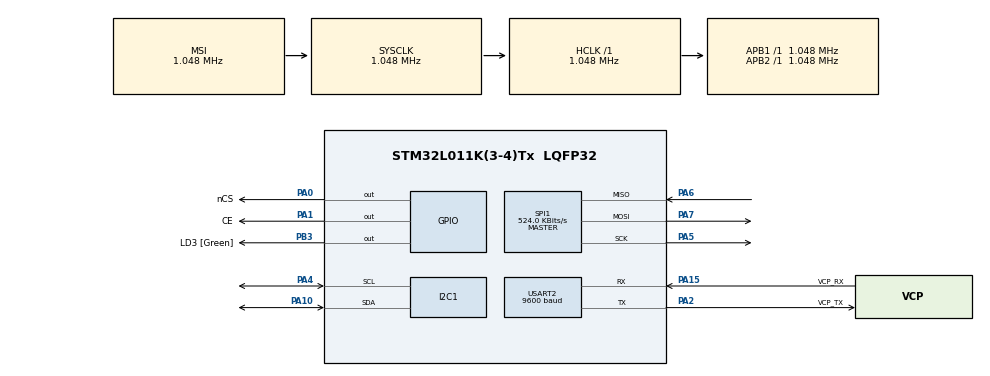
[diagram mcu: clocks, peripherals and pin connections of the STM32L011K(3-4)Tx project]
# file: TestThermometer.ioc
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I2C1.Timing=0x00000202
Mcu.Family=STM32L0
Mcu.Name=STM32L011K(3-4)Tx
Mcu.Package=LQFP32
NVIC.RTC_IRQn=true\:0\:0\:false\:false\:true\:true\:true
PA0-CK_IN.GPIO_Label=nCS
PA0-CK_IN.Signal=GPIO_Output
PA1.GPIO_Label=CE
PA1.Signal=GPIO_Output
PA10.Mode=I2C
PA10.Signal=I2C1_SDA
PA13.GPIO_Label=TMS
PA13.Mode=Serial_Wire
PA13.Signal=SYS_SWDIO
PA14.GPIO_Label=TCK
PA14.Mode=Serial_Wire
PA14.Signal=SYS_SWCLK
PA15.GPIO_Label=VCP_RX
PA15.Mode=Asynchronous
PA15.Signal=USART2_RX
PA2.GPIO_Label=VCP_TX
PA2.Mode=Asynchronous
PA2.Signal=USART2_TX
PA4.Mode=I2C
PA4.Signal=I2C1_SCL
PA5.Mode=Full_Duplex_Master
PA5.Signal=SPI1_SCK
PA6.Mode=Full_Duplex_Master
PA6.Signal=SPI1_MISO
PA7.Mode=Full_Duplex_Master
PA7.Signal=SPI1_MOSI
PB3.GPIO_Label=LD3 [Green]
PB3.Signal=GPIO_Output
PC14-OSC32_IN.Signal=RCC_OSC32_IN
PC15-OSC32_OUT.Signal=RCC_OSC32_OUT
ProjectManager.HeapSize=0x200
ProjectManager.StackSize=0x400
ProjectManager.TargetToolchain=MDK-ARM V5.27
RCC.AHBFreq_Value=1048000
RCC.APB1Freq_Value=1048000
RCC.APB1TimFreq_Value=1048000
RCC.APB2Freq_Value=1048000
RCC.APB2TimFreq_Value=1048000
RCC.HCLKFreq_Value=1048000
RCC.HSE_VALUE=8000000
RCC.HSI16_VALUE=16000000
RCC.HSI48_VALUE=48000000
RCC.HSI_VALUE=16000000
RCC.LSE_VALUE=32768
RCC.MSIClockRange=RCC_MSIRANGE_4
RCC.MSI_VALUE=1048000
RCC.PLLMUL=RCC_PLLMUL_4
RCC.SYSCLKFreq_VALUE=1048000
RCC.VCOOutputFreq_Value=64000000
RTC.WakeUpClock-WakeUp=RTC_WAKEUPCLOCK_CK_SPRE_16BITS
RTC.WakeUpCounter-WakeUp=1
SPI1.CalculateBaudRate=524.0 KBits/s
SPI1.Direction=SPI_DIRECTION_2LINES
SPI1.Mode=SPI_MODE_MASTER
SPI1.VirtualType=VM_MASTER
SYS.Mode=PWR_PVD_MODE_NORMAL
SYS.PVDLevel=PWR_PVDLEVEL_2
USART2.BaudRate=9600
USART2.OverSampling=UART_OVERSAMPLING_16
USART2.VirtualMode-Asynchronous=VM_ASYNC
VP_RTC_VS_RTC_Activate.Mode=RTC_Enabled
VP_RTC_VS_RTC_WakeUp_intern.Mode=WakeUp
VP_SYS_V_PVD_IN.Mode=Mode_PVD_Int
board=NUCLEO-L011K4

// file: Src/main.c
/* USER CODE BEGIN Header */
/**
  ******************************************************************************
  * @file           : main.c
  * @brief          : Main program body
  ******************************************************************************
  * @attention
  *
  * <h2><center>&copy; Copyright (c) 2019 STMicroelectronics.
  * All rights reserved.</center></h2>
  *
  * This software component is licensed by ST under BSD 3-Clause license,
  * the "License"; You may not use this file except in compliance with the
  * License. You may obtain a copy of the License at:
  *                        opensource.org/licenses/BSD-3-Clause
  *
  ******************************************************************************
  */
/* USER CODE END Header */

#include "main.h"

I2C_HandleTypeDef hi2c1;

RTC_HandleTypeDef hrtc;

SPI_HandleTypeDef hspi1;

UART_HandleTypeDef huart2;

void SystemClock_Config(void);
static void MX_GPIO_Init(void);
static void MX_I2C1_Init(void);
static void MX_RTC_Init(void);
static void MX_SPI1_Init(void);
static void MX_USART2_UART_Init(void);

/* USER CODE BEGIN 0 */
/**
  * @brief  Retargets the C library printf function to the USART.
  * @param  None
  * @retval None
  */
PUTCHAR_PROTOTYPE
{
  /* Place your implementation of fputc here */
  /* e.g. write a character to the USART2 and Loop until the end of transmission */
  HAL_UART_Transmit(&huart2, (uint8_t *)&ch, 1, 0xFFFF);

  return ch;
}
/* USER CODE END 0 */

int main(void)
{
  /* USER CODE BEGIN 1 */
	uint8_t temp;
	uint8_t q = 0;
	uint8_t data_array[4];
	uint8_t tx_address[5] = {0xE7,0xE7,0xE7,0xE7,0xE7};
	uint8_t rx_address[5] = {0xD7,0xD7,0xD7,0xD7,0xD7};

  /* USER CODE END 1 */

  /* MCU Configuration--------------------------------------------------------*/

  /* Reset of all peripherals, Initializes the Flash interface and the Systick. */
  HAL_Init();

  /* Configure the system clock */
  SystemClock_Config();

  /* Initialize all configured peripherals */
  MX_GPIO_Init();
  MX_I2C1_Init();
  MX_RTC_Init();
  MX_SPI1_Init();
  MX_USART2_UART_Init();
  /* USER CODE BEGIN 2 */

	HAL_PWREx_EnableUltraLowPower(); // Ultra low power mode (turns off Vrefint during sleep)
	HAL_PWREx_EnableFastWakeUp(); // Fast wake-up for ultra low power mode (does not wait for Vrefint startup)

	/* init hardware pins */
	nrf24_init();

	/* Channel #2 , payload length: 4 */
	nrf24_config(2,4);

	/* Set the device addresses */
	nrf24_tx_address(tx_address);
	nrf24_rx_address(rx_address);

	//Aditional Wakeup configuration - use event instead of interrupt to wakeup (no ISR needed).
	__HAL_RTC_WAKEUPTIMER_EXTI_DISABLE_IT();
	__HAL_RTC_WAKEUPTIMER_EXTI_ENABLE_EVENT();

  /* USER CODE END 2 */

  /* Infinite loop */
  /* USER CODE BEGIN WHILE */
  printf("Start:");
	L3On();
	HAL_Delay(1000);
	uint8_t i2cmsg[10];
	volatile int i16Temp;
#define LM75ADDRESS 0x90

	while (1)
  {
    i2cmsg[0]=0;
		HAL_I2C_Master_Transmit(&hi2c1, LM75ADDRESS, i2cmsg, 1, 10);
		HAL_I2C_Master_Receive(&hi2c1, LM75ADDRESS, i2cmsg, 2, 10);
    i16Temp=((int)i2cmsg[0]<<8) | i2cmsg[1];

		data_array[0] = 'T';
		data_array[1] = i2cmsg[0];
		data_array[2] = i2cmsg[1];
		data_array[3] = q++;
		printf("T=%d(T=%f)   ",i2cmsg[0],i16Temp/256.0);
		/* Automatically goes to TX mode */
		nrf24_send(data_array);

		/* Wait for transmission to end */
		while(nrf24_isSending());

		/* Make analysis on last tranmission attempt */
		temp = nrf24_lastMessageStatus();

		if(temp == NRF24_TRANSMISSON_OK)
		{
				printf("T-OK");
		}
		else if(temp == NRF24_MESSAGE_LOST)
		{
				printf("T-Err");
		}
		else
		{
				printf("T-???(%d)",temp);
		}

		/* Retranmission count indicates the tranmission quality */
		temp = nrf24_retransmissionCount();
		printf("Rtr=%d",temp);
		/* Optionally, go back to RX mode ... */
		nrf24_powerUpRx();

		//Go to sleep
		L3Off();
		//TODO: change GPIO configuration for minimal power consumption
//		HAL_PWR_EnterSTOPMode(PWR_LOWPOWERREGULATOR_ON,PWR_STOPENTRY_WFE);
		//Sleeping...
		//Sleeping...
		//Sleeping...
//	   __HAL_RTC_WAKEUPTIMER_CLEAR_FLAG(&hrtc, RTC_FLAG_WUTF);
		HAL_PWR_EnablePVD();	//Check Bit PVDO in PWR_CSR register to see result: 1 = battery low
		//PVD is not reliable for about 3ms after waking up (time for Vrefint to stabalize
		SystemClock_Config();
		MX_GPIO_Init();
		L3On();
//		MX_I2C1_Init();
//		MX_SPI1_Init();
//		MX_USART2_UART_Init();
		HAL_Delay(1000);
    /* USER CODE END WHILE */

  }
}

void SystemClock_Config(void)
{
  RCC_OscInitTypeDef RCC_OscInitStruct = {0};
  RCC_ClkInitTypeDef RCC_ClkInitStruct = {0};
  RCC_PeriphCLKInitTypeDef PeriphClkInit = {0};

  /** Configure the main internal regulator output voltage
  */
  __HAL_PWR_VOLTAGESCALING_CONFIG(PWR_REGULATOR_VOLTAGE_SCALE1);
  /** Initializes the CPU, AHB and APB busses clocks
  */
  RCC_OscInitStruct.OscillatorType = RCC_OSCILLATORTYPE_LSI|RCC_OSCILLATORTYPE_MSI;
  RCC_OscInitStruct.LSIState = RCC_LSI_ON;
  RCC_OscInitStruct.MSIState = RCC_MSI_ON;
  RCC_OscInitStruct.MSICalibrationValue = 0;
  RCC_OscInitStruct.MSIClockRange = RCC_MSIRANGE_4;
  RCC_OscInitStruct.PLL.PLLState = RCC_PLL_NONE;
  if (HAL_RCC_OscConfig(&RCC_OscInitStruct) != HAL_OK)
  {
    Error_Handler();
  }
  /** Initializes the CPU, AHB and APB busses clocks
  */
  RCC_ClkInitStruct.ClockType = RCC_CLOCKTYPE_HCLK|RCC_CLOCKTYPE_SYSCLK
                              |RCC_CLOCKTYPE_PCLK1|RCC_CLOCKTYPE_PCLK2;
  RCC_ClkInitStruct.SYSCLKSource = RCC_SYSCLKSOURCE_MSI;
  RCC_ClkInitStruct.AHBCLKDivider = RCC_SYSCLK_DIV1;
  RCC_ClkInitStruct.APB1CLKDivider = RCC_HCLK_DIV1;
  RCC_ClkInitStruct.APB2CLKDivider = RCC_HCLK_DIV1;

  if (HAL_RCC_ClockConfig(&RCC_ClkInitStruct, FLASH_LATENCY_0) != HAL_OK)
  {
    Error_Handler();
  }
  PeriphClkInit.PeriphClockSelection = RCC_PERIPHCLK_USART2|RCC_PERIPHCLK_I2C1
                              |RCC_PERIPHCLK_RTC;
  PeriphClkInit.Usart2ClockSelection = RCC_USART2CLKSOURCE_PCLK1;
  PeriphClkInit.I2c1ClockSelection = RCC_I2C1CLKSOURCE_PCLK1;
  PeriphClkInit.RTCClockSelection = RCC_RTCCLKSOURCE_LSI;
  if (HAL_RCCEx_PeriphCLKConfig(&PeriphClkInit) != HAL_OK)
  {
    Error_Handler();
  }
}

static void MX_I2C1_Init(void)
{

  hi2c1.Instance = I2C1;
  hi2c1.Init.Timing = 0x00000202;
  hi2c1.Init.OwnAddress1 = 0;
  hi2c1.Init.AddressingMode = I2C_ADDRESSINGMODE_7BIT;
  hi2c1.Init.DualAddressMode = I2C_DUALADDRESS_DISABLE;
  hi2c1.Init.OwnAddress2 = 0;
  hi2c1.Init.OwnAddress2Masks = I2C_OA2_NOMASK;
  hi2c1.Init.GeneralCallMode = I2C_GENERALCALL_DISABLE;
  hi2c1.Init.NoStretchMode = I2C_NOSTRETCH_DISABLE;
  if (HAL_I2C_Init(&hi2c1) != HAL_OK)
  {
    Error_Handler();
  }
  /** Configure Analogue filter
  */
  if (HAL_I2CEx_ConfigAnalogFilter(&hi2c1, I2C_ANALOGFILTER_ENABLE) != HAL_OK)
  {
    Error_Handler();
  }
  /** Configure Digital filter
  */
  if (HAL_I2CEx_ConfigDigitalFilter(&hi2c1, 0) != HAL_OK)
  {
    Error_Handler();
  }

}

static void MX_RTC_Init(void)
{

  /** Initialize RTC Only
  */
  hrtc.Instance = RTC;
  hrtc.Init.HourFormat = RTC_HOURFORMAT_24;
  hrtc.Init.AsynchPrediv = 127;
  hrtc.Init.SynchPrediv = 255;
  hrtc.Init.OutPut = RTC_OUTPUT_DISABLE;
  hrtc.Init.OutPutRemap = RTC_OUTPUT_REMAP_NONE;
  hrtc.Init.OutPutPolarity = RTC_OUTPUT_POLARITY_HIGH;
  hrtc.Init.OutPutType = RTC_OUTPUT_TYPE_OPENDRAIN;
  if (HAL_RTC_Init(&hrtc) != HAL_OK)
  {
    Error_Handler();
  }
  /** Enable the WakeUp
  */
  if (HAL_RTCEx_SetWakeUpTimer_IT(&hrtc, 1, RTC_WAKEUPCLOCK_CK_SPRE_16BITS) != HAL_OK)
  {
    Error_Handler();
  }

}

static void MX_SPI1_Init(void)
{

  /* SPI1 parameter configuration*/
  hspi1.Instance = SPI1;
  hspi1.Init.Mode = SPI_MODE_MASTER;
  hspi1.Init.Direction = SPI_DIRECTION_2LINES;
  hspi1.Init.DataSize = SPI_DATASIZE_8BIT;
  hspi1.Init.CLKPolarity = SPI_POLARITY_LOW;
  hspi1.Init.CLKPhase = SPI_PHASE_1EDGE;
  hspi1.Init.NSS = SPI_NSS_SOFT;
  hspi1.Init.BaudRatePrescaler = SPI_BAUDRATEPRESCALER_2;
  hspi1.Init.FirstBit = SPI_FIRSTBIT_MSB;
  hspi1.Init.TIMode = SPI_TIMODE_DISABLE;
  hspi1.Init.CRCCalculation = SPI_CRCCALCULATION_DISABLE;
  hspi1.Init.CRCPolynomial = 7;
  if (HAL_SPI_Init(&hspi1) != HAL_OK)
  {
    Error_Handler();
  }

}

static void MX_USART2_UART_Init(void)
{

  huart2.Instance = USART2;
  huart2.Init.BaudRate = 9600;
  huart2.Init.WordLength = UART_WORDLENGTH_8B;
  huart2.Init.StopBits = UART_STOPBITS_1;
  huart2.Init.Parity = UART_PARITY_NONE;
  huart2.Init.Mode = UART_MODE_TX_RX;
  huart2.Init.HwFlowCtl = UART_HWCONTROL_NONE;
  huart2.Init.OverSampling = UART_OVERSAMPLING_16;
  huart2.Init.OneBitSampling = UART_ONE_BIT_SAMPLE_DISABLE;
  huart2.AdvancedInit.AdvFeatureInit = UART_ADVFEATURE_NO_INIT;
  if (HAL_UART_Init(&huart2) != HAL_OK)
  {
    Error_Handler();
  }

}

static void MX_GPIO_Init(void)
{
  GPIO_InitTypeDef GPIO_InitStruct = {0};

  /* GPIO Ports Clock Enable */
  __HAL_RCC_GPIOC_CLK_ENABLE();
  __HAL_RCC_GPIOA_CLK_ENABLE();
  __HAL_RCC_GPIOB_CLK_ENABLE();

  /*Configure GPIO pin Output Level */
  HAL_GPIO_WritePin(GPIOA, nCS_Pin|CE_Pin, GPIO_PIN_RESET);

  /*Configure GPIO pin Output Level */
  HAL_GPIO_WritePin(LD3_GPIO_Port, LD3_Pin, GPIO_PIN_RESET);

  /*Configure GPIO pins : nCS_Pin CE_Pin */
  GPIO_InitStruct.Pin = nCS_Pin|CE_Pin;
  GPIO_InitStruct.Mode = GPIO_MODE_OUTPUT_PP;
  GPIO_InitStruct.Pull = GPIO_NOPULL;
  GPIO_InitStruct.Speed = GPIO_SPEED_FREQ_LOW;
  HAL_GPIO_Init(GPIOA, &GPIO_InitStruct);

  /*Configure GPIO pin : LD3_Pin */
  GPIO_InitStruct.Pin = LD3_Pin;
  GPIO_InitStruct.Mode = GPIO_MODE_OUTPUT_PP;
  GPIO_InitStruct.Pull = GPIO_NOPULL;
  GPIO_InitStruct.Speed = GPIO_SPEED_FREQ_LOW;
  HAL_GPIO_Init(LD3_GPIO_Port, &GPIO_InitStruct);

}

void Error_Handler(void)
{
}

/************************ (C) COPYRIGHT STMicroelectronics *****END OF FILE****/
